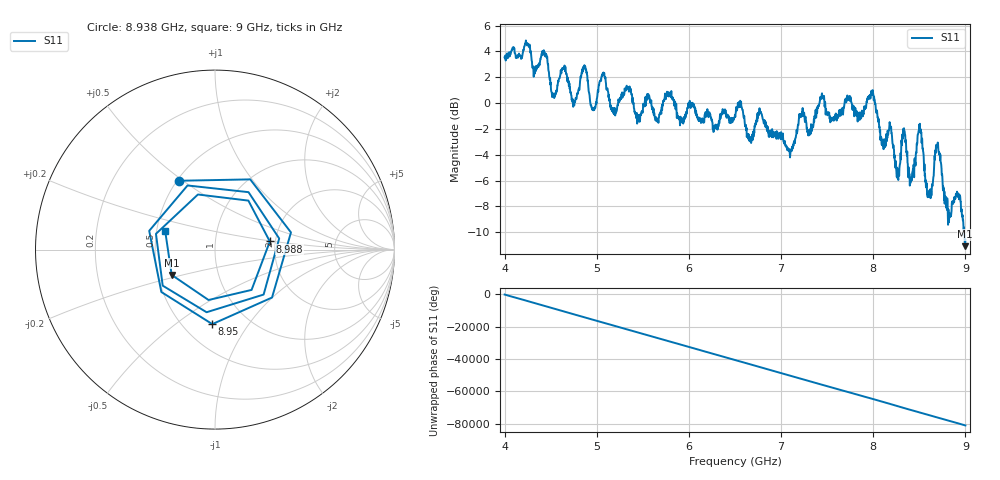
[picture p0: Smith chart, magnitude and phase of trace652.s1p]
! Created with skrf 1.8.0 (http://scikit-rf.org).
# Hz S RI R 50.0
!freq ReS11 ImS11
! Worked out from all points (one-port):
!   1601 points, 4 GHz to 9 GHz, reference 50 ohm
!   lowest |S11| = -11.1 dB at 8.997 GHz (marker M1), VSWR 1.78, Z = 29.5 - j9.03 ohm
!   |S11| at or under -10 dB: 8.986589 GHz to end of sweep
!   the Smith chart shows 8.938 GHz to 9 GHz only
!   S11 on the Smith chart (normalised r, x): 8.938 GHz: 0.51, +0.48; 8.95 GHz: 0.69, -0.69; 8.988 GHz: 1.87, +0.19; 9 GHz: 0.56, +0.12
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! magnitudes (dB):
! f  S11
! 4 GHz  3.5
! 4.428 GHz  4.0
! 4.531 GHz  0.5
! 4.625 GHz  2.7
! 4.753 GHz  -0.1
! 4.862 GHz  2.8
! 4.959 GHz  -0.4
! 5.069 GHz  2.2
! 5.25 GHz  0.4
! 5.875 GHz  -1.0
! 6.5 GHz  -0.9
! 7.125 GHz  -3.5
! 7.441 GHz  0.7
! 7.75 GHz  0.5
! 7.991 GHz  0.6
! 8.259 GHz  -5.0
! 8.331 GHz  -2.5
! 8.375 GHz  -4.7
! 8.419 GHz  -6.0
! 8.506 GHz  -1.6
! 8.597 GHz  -7.3
! 8.697 GHz  -3.2
! 8.819 GHz  -9.2
! 8.938 GHz  -7.3
! 8.95 GHz  -7.6
! 8.988 GHz  -10.2
! 8.997 GHz  -11.1
! 9 GHz  -10.6
